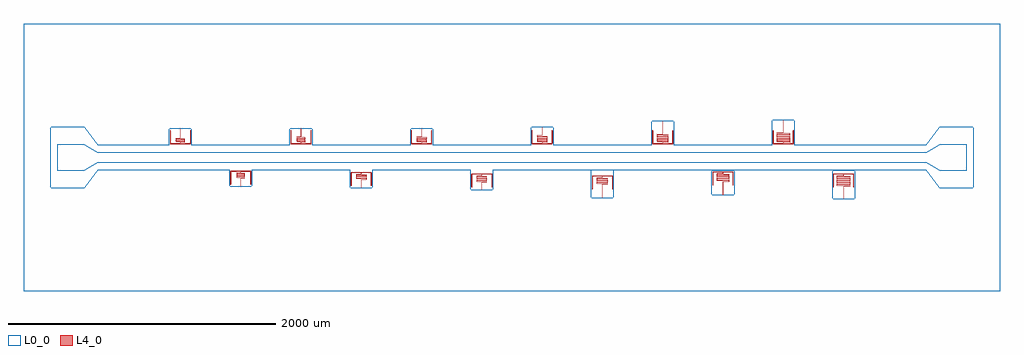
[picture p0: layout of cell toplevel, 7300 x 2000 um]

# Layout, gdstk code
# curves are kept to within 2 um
import gdstk
lib = gdstk.Library(unit=1e-6, precision=1e-09)
def P(c, l, *ps):  # polygons
    for p in ps: c.add(gdstk.Polygon(p, *l))
L0_0 = (0, 0)
L4_0 = (4, 0)

toplevel = lib.new_cell('toplevel')
P(toplevel, L0_0, [(3650,1000),(-3650,1000),(-3650,-225),(-3450,-225),(-3450,225),(-3200,225),(-3100,90),(-2562.5,90),(-2562.5,215),(-2397.5,215),(-2397.5,90),(-1660.682,90),(-1660.682,215),(-1495.682,215),(-1495.682,90),(-758.864,90),(-758.864,215),(-593.864,215),(-593.864,90),(142.954,90),(142.954,225),(307.954,225),(307.954,90),(1044.773,90),(1044.773,270),(1209.773,270),(1209.773,90),(1946.591,90),(1946.591,280),(2111.591,280),(2111.591,90),(3100,90),(3200,225),(3450,225),(3450,-225),(3200,-225),(3100,-90),(-142.954,-90),(-142.954,-240),(-307.954,-240),(-307.954,-90),(-1044.773,-90),(-1044.773,-225),(-1209.773,-225),(-1209.773,-90),(-1946.591,-90),(-1946.591,-215),(-2111.591,-215),(-2111.591,-90),(-3100,-90),(-3200,-225),(-3650,-225),(-3650,-300),(593.864,-300),(593.864,-95),(758.864,-95),(758.864,-280),(1495.682,-280),(1495.682,-100),(1660.682,-100),(1660.682,-280),(758.864,-280),(758.864,-300),(-3650,-300),(-3650,-310),(2397.5,-310),(2397.5,-100),(2562.5,-100),(2562.5,-310),(-3650,-310),(-3650,-1000),(3650,-1000)],
  [(-3100,40),(-3200,100),(-3400,100),(-3400,-100),(-3200,-100),(-3100,-40),(3100,-40),(3200,-100),(3400,-100),(3400,100),(3200,100),(3100,40)])
P(toplevel, L4_0, [(-2550.458,100),(-2553.313,100.306),(-2555.498,101.451),(-2556.915,103.4),(-2557.475,105.954),(-2557.5,200),(-2557.218,201.154),(-2556.434,202.048),(-2555.218,202.49),(-2553.943,202.266),(-2552.952,201.434),(-2552.502,200.109),(-2552.496,106.572),(-2552.243,105.246),(-2550.62,105),(-2490,105),(-2480.3,109.9),(-2480.277,114.226),(-2479.526,115.134),(-2447.419,115.381),(-2447.308,119.063),(-2447.618,119.551),(-2512.042,119.601),(-2513.241,120.4),(-2513.241,124.4),(-2512.178,125.193),(-2448.05,125.2),(-2447.352,125.512),(-2447.313,129.114),(-2447.859,129.594),(-2511.992,129.6),(-2513.208,130.294),(-2513.262,134.316),(-2512.912,134.934),(-2512.202,135.191),(-2448.05,135.2),(-2447.359,135.492),(-2447.312,139.11),(-2447.859,139.594),(-2511.986,139.6),(-2513.19,140.248),(-2513.271,144.264),(-2512.345,145.174),(-2481.025,145.2),(-2480.368,145.47),(-2480.3,214.9),(-2479.7,214.9),(-2479.819,145.228),(-2480.969,144.601),(-2512.239,144.584),(-2512.691,144.08),(-2512.637,140.482),(-2511.95,140.2),(-2447.798,140.191),(-2447.088,139.934),(-2446.737,139.309),(-2446.8,135.274),(-2448.008,134.6),(-2512.141,134.594),(-2512.687,134.114),(-2512.645,130.502),(-2511.95,130.2),(-2447.798,130.191),(-2447.088,129.934),(-2446.738,129.316),(-2446.785,125.314),(-2447.218,124.775),(-2448.008,124.6),(-2512.132,124.595),(-2512.682,124.151),(-2512.568,120.366),(-2447.427,120.119),(-2446.73,119.27),(-2446.7,115.958),(-2446.875,115.118),(-2447.447,114.674),(-2479.563,114.44),(-2479.7,109.9),(-2470,105),(-2480,105),(-2407.782,105.228),(-2407.5,106.88),(-2407.498,200.109),(-2406.915,201.607),(-2405.647,202.415),(-2404.145,202.349),(-2402.952,201.434),(-2402.5,200),(-2402.503,106.563),(-2403.1,103.365),(-2404.934,101.118),(-2406.855,100.261),(-2409.332,100)],
  [(-2029.391,-214.9),(-2029.257,-155.196),(-2028.128,-154.601),(-1998.844,-154.582),(-1998.4,-154.076),(-1998.459,-150.47),(-1999.141,-150.2),(-2059.305,-150.19),(-2060.009,-149.929),(-2060.355,-149.303),(-2060.281,-145.248),(-2059.083,-144.6),(-1998.941,-144.593),(-1998.403,-144.11),(-1998.451,-140.489),(-1999.141,-140.2),(-2059.274,-140.192),(-2059.967,-139.962),(-2060.334,-139.394),(-2060.334,-135.406),(-2059.71,-134.697),(-2059.145,-134.602),(-1999.166,-134.6),(-1998.559,-134.47),(-1998.394,-133.986),(-1998.399,-130.728),(-1998.946,-130.206),(-2059.038,-130.2),(-2059.991,-129.944),(-2060.38,-129.12),(-2060.372,-125.605),(-2060.044,-124.902),(-2059.311,-124.61),(-1999.166,-124.6),(-1998.594,-124.496),(-1998.395,-124.004),(-1998.543,-120.344),(-2059.789,-120.069),(-2060.369,-119.22),(-2060.39,-115.852),(-2060.204,-115.099),(-2059.663,-114.68),(-2029.524,-114.436),(-2029.391,-109.9),(-2039.091,-105),(-2099.711,-105),(-2101.334,-105.246),(-2101.591,-106.921),(-2101.593,-200.109),(-2102.484,-201.915),(-2103.444,-202.415),(-2104.525,-202.462),(-2106.006,-201.607),(-2106.591,-200),(-2106.59,-106.736),(-2106.338,-104.388),(-2105.519,-102.502),(-2103.225,-100.6),(-2099.855,-100.001),(-1958.447,-100),(-1956.078,-100.229),(-1954.161,-101.027),(-1953.014,-102.034),(-1952.191,-103.365),(-1951.591,-106.832),(-1951.593,-200.109),(-1952.248,-201.689),(-1953.765,-202.479),(-1955.698,-201.915),(-1956.588,-200.109),(-1956.591,-106.88),(-1956.854,-105.241),(-1958.471,-105),(-2019.091,-105),(-2028.791,-109.9),(-2028.813,-114.22),(-2029.544,-115.128),(-2059.668,-115.377),(-2059.785,-119.032),(-2059.542,-119.522),(-1998.871,-119.61),(-1998.126,-119.913),(-1997.806,-120.637),(-1997.805,-124.157),(-1998.277,-125.006),(-1999.149,-125.2),(-2059.232,-125.206),(-2059.782,-125.728),(-2059.788,-128.986),(-2059.618,-129.474),(-2059.021,-129.6),(-1998.871,-129.61),(-1998.137,-129.902),(-1997.81,-130.599),(-1997.8,-134.108),(-1998.172,-134.929),(-1999.143,-135.2),(-2059.663,-135.37),(-2059.773,-139.151),(-2059.227,-139.594),(-1999.099,-139.6),(-1998.328,-139.764),(-1997.893,-140.268),(-1997.828,-144.309),(-1998.172,-144.929),(-1998.877,-145.19),(-2059.041,-145.2),(-2059.727,-145.479),(-2059.779,-149.106),(-2059.24,-149.593),(-1999.105,-149.6),(-1997.912,-150.222),(-1997.819,-154.258),(-1998.727,-155.171),(-2028.071,-155.2),(-2028.716,-155.455),(-2028.791,-214.9)],
  [(-1648.64,100),(-1651.494,100.306),(-1653.647,101.423),(-1655.066,103.331),(-1655.655,105.925),(-1655.682,200),(-1655.399,201.154),(-1654.616,202.048),(-1653.4,202.49),(-1652.125,202.266),(-1651.073,201.343),(-1650.684,200.109),(-1650.678,106.572),(-1650.425,105.246),(-1648.802,105),(-1588.182,105),(-1578.482,109.9),(-1578.46,114.22),(-1577.741,115.124),(-1548.603,115.379),(-1548.725,119.519),(-1607.408,119.611),(-1608.147,119.913),(-1608.467,120.637),(-1608.321,124.656),(-1607.124,125.2),(-1549.037,125.206),(-1548.49,125.728),(-1548.485,128.986),(-1548.65,129.47),(-1549.252,129.6),(-1607.408,129.611),(-1608.135,129.902),(-1608.462,130.599),(-1608.473,134.102),(-1608.112,134.919),(-1607.135,135.2),(-1548.61,135.37),(-1548.5,139.151),(-1549.041,139.594),(-1607.179,139.6),(-1607.951,139.768),(-1608.385,140.281),(-1608.445,144.309),(-1608.1,144.929),(-1607.396,145.19),(-1549.232,145.2),(-1548.543,145.486),(-1548.494,149.106),(-1549.028,149.593),(-1607.174,149.6),(-1608.366,150.235),(-1608.454,154.258),(-1607.552,155.17),(-1579.202,155.2),(-1578.554,155.461),(-1578.482,214.9),(-1577.882,214.9),(-1578.009,155.209),(-1579.145,154.601),(-1607.433,154.582),(-1607.873,154.076),(-1607.815,150.473),(-1607.132,150.2),(-1548.962,150.19),(-1548.263,149.929),(-1547.918,149.303),(-1547.987,145.261),(-1548.425,144.76),(-1549.19,144.6),(-1607.336,144.593),(-1607.869,144.11),(-1607.824,140.495),(-1607.132,140.2),(-1548.992,140.192),(-1548.299,139.958),(-1547.939,139.394),(-1547.939,135.406),(-1548.563,134.697),(-1549.122,134.602),(-1607.112,134.6),(-1607.718,134.466),(-1607.879,133.981),(-1607.873,130.728),(-1607.331,130.207),(-1549.229,130.2),(-1548.269,129.934),(-1547.892,129.114),(-1547.9,125.605),(-1548.223,124.907),(-1548.956,124.611),(-1607.106,124.6),(-1607.684,124.492),(-1607.878,124.004),(-1607.732,120.346),(-1548.471,120.063),(-1547.903,119.213),(-1547.883,115.852),(-1548.068,115.099),(-1548.596,114.685),(-1577.75,114.434),(-1577.882,109.9),(-1568.182,105),(-1578.182,105),(-1505.964,105.228),(-1505.682,106.84),(-1505.679,200.109),(-1505.097,201.607),(-1503.829,202.415),(-1502.327,202.349),(-1501.134,201.434),(-1500.682,200),(-1500.688,106.41),(-1501.329,103.261),(-1503.116,101.118),(-1505.036,100.261),(-1507.514,100)],
  [(-1127.573,-224.9),(-1127.39,-165.105),(-1126.276,-164.6),(-1089.063,-164.587),(-1088.582,-164.08),(-1088.661,-160.429),(-1089.338,-160.2),(-1165.45,-160.193),(-1166.185,-159.934),(-1166.538,-159.296),(-1166.423,-155.163),(-1165.242,-154.6),(-1089.15,-154.595),(-1088.585,-154.11),(-1088.649,-150.452),(-1089.333,-150.2),(-1165.444,-150.193),(-1166.179,-149.939),(-1166.535,-149.309),(-1166.445,-145.209),(-1166.003,-144.747),(-1165.248,-144.6),(-1089.15,-144.595),(-1088.586,-144.114),(-1088.639,-140.473),(-1089.333,-140.2),(-1165.444,-140.193),(-1166.173,-139.944),(-1166.534,-139.316),(-1166.462,-135.248),(-1166.022,-134.757),(-1165.253,-134.6),(-1089.164,-134.596),(-1088.592,-134.159),(-1088.704,-130.366),(-1165.786,-130.138),(-1166.539,-129.29),(-1166.573,-125.958),(-1166.386,-125.099),(-1165.766,-124.657),(-1127.715,-124.446),(-1127.573,-119.9),(-1137.273,-115),(-1197.893,-115),(-1199.508,-115.24),(-1199.773,-116.983),(-1199.775,-210.109),(-1200.055,-211.154),(-1200.666,-211.915),(-1201.626,-212.415),(-1202.599,-212.479),(-1204.188,-211.607),(-1204.773,-210),(-1204.771,-116.663),(-1204.52,-114.388),(-1203.723,-112.536),(-1202.738,-111.423),(-1201.477,-110.631),(-1198.036,-110.001),(-1056.629,-110),(-1054.26,-110.229),(-1052.343,-111.027),(-1051.196,-112.034),(-1050.373,-113.366),(-1049.773,-116.832),(-1049.775,-210.109),(-1050.429,-211.689),(-1051.946,-212.479),(-1052.92,-212.415),(-1053.88,-211.915),(-1054.49,-211.154),(-1054.77,-210.109),(-1054.773,-116.84),(-1055.036,-115.241),(-1056.653,-115),(-1117.273,-115),(-1126.973,-119.9),(-1126.998,-124.245),(-1127.799,-125.148),(-1165.85,-125.377),(-1165.964,-129.076),(-1165.623,-129.56),(-1089.242,-129.601),(-1088.667,-129.692),(-1088.031,-130.4),(-1088.033,-134.407),(-1088.409,-134.972),(-1089.125,-135.195),(-1165.213,-135.2),(-1165.909,-135.479),(-1165.96,-139.114),(-1165.395,-139.595),(-1089.298,-139.6),(-1088.536,-139.75),(-1088.089,-140.235),(-1088.011,-144.316),(-1088.372,-144.944),(-1089.101,-145.193),(-1165.213,-145.2),(-1165.901,-145.461),(-1165.96,-149.11),(-1165.395,-149.595),(-1089.298,-149.6),(-1088.11,-150.189),(-1088.009,-154.303),(-1088.366,-154.939),(-1089.101,-155.193),(-1165.208,-155.2),(-1165.89,-155.44),(-1165.96,-159.11),(-1165.395,-159.595),(-1089.303,-159.6),(-1088.137,-160.137),(-1088,-164.258),(-1088.313,-164.892),(-1088.966,-165.18),(-1126.233,-165.2),(-1126.878,-165.418),(-1126.973,-224.9)],
  [(-746.822,100),(-749.676,100.306),(-751.862,101.451),(-753.263,103.365),(-753.84,105.981),(-753.864,200),(-753.581,201.154),(-752.797,202.048),(-751.581,202.49),(-750.307,202.266),(-749.255,201.343),(-748.866,200.109),(-748.86,106.591),(-748.607,105.246),(-746.984,105),(-686.364,105),(-676.664,109.9),(-676.639,114.239),(-675.851,115.145),(-639.285,115.379),(-639.172,119.071),(-639.506,119.558),(-712.895,119.601),(-713.469,119.692),(-714.105,120.4),(-714.103,124.407),(-713.728,124.971),(-713.017,125.194),(-639.918,125.2),(-639.225,125.486),(-639.177,129.114),(-639.736,129.595),(-712.844,129.6),(-713.614,129.757),(-714.053,130.248),(-714.125,134.316),(-713.77,134.939),(-713.041,135.193),(-639.923,135.2),(-639.232,135.47),(-639.176,139.11),(-639.736,139.595),(-712.839,139.6),(-713.588,139.743),(-714.033,140.202),(-714.128,144.303),(-713.77,144.939),(-713.041,145.193),(-639.923,145.2),(-639.243,145.446),(-639.176,149.11),(-639.736,149.595),(-712.833,149.6),(-714.007,150.15),(-714.137,154.251),(-713.828,154.887),(-713.183,155.178),(-677.398,155.2),(-676.755,155.424),(-676.664,214.9),(-676.064,214.9),(-676.235,155.124),(-677.355,154.601),(-713.078,154.587),(-713.554,154.08),(-713.478,150.435),(-712.804,150.2),(-639.68,150.192),(-638.951,149.934),(-638.598,149.296),(-638.707,145.176),(-639.888,144.6),(-712.991,144.595),(-713.551,144.11),(-713.49,140.458),(-712.804,140.2),(-639.686,140.193),(-638.957,139.939),(-638.601,139.309),(-638.682,135.228),(-639.127,134.75),(-639.883,134.6),(-712.991,134.595),(-713.55,134.114),(-713.5,130.479),(-712.809,130.2),(-639.686,130.193),(-638.957,129.939),(-638.602,129.316),(-638.668,125.261),(-639.107,124.76),(-639.883,124.6),(-712.977,124.596),(-713.545,124.155),(-713.432,120.366),(-639.337,120.134),(-638.596,119.283),(-638.564,115.958),(-638.75,115.099),(-639.357,114.66),(-675.586,114.586),(-676.054,114.084),(-676.064,109.9),(-666.364,105),(-676.364,105),(-605.744,105),(-604.138,105.233),(-603.864,106.82),(-603.861,200.109),(-603.279,201.607),(-602.011,202.415),(-600.508,202.349),(-599.316,201.434),(-598.864,200),(-598.868,106.488),(-599.495,103.296),(-601.298,101.118),(-603.218,100.261),(-605.696,100)],
  [(-225.754,-239.9),(-225.564,-185.092),(-224.463,-184.601),(-188.74,-184.587),(-188.263,-184.076),(-188.346,-180.424),(-189.02,-180.2),(-262.138,-180.192),(-262.867,-179.934),(-263.22,-179.296),(-263.098,-175.15),(-261.924,-174.6),(-188.827,-174.595),(-188.267,-174.11),(-188.334,-170.446),(-189.014,-170.2),(-262.132,-170.193),(-262.861,-169.939),(-263.219,-169.303),(-263.124,-165.202),(-262.678,-164.743),(-261.93,-164.6),(-188.827,-164.595),(-188.267,-164.11),(-188.322,-160.47),(-189.014,-160.2),(-262.132,-160.193),(-262.861,-159.939),(-263.216,-159.316),(-263.144,-155.248),(-262.704,-154.757),(-261.935,-154.6),(-188.827,-154.595),(-188.268,-154.114),(-188.316,-150.486),(-189.009,-150.2),(-262.108,-150.194),(-262.818,-149.972),(-263.194,-149.407),(-263.196,-145.4),(-262.56,-144.692),(-261.991,-144.601),(-188.528,-144.533),(-188.26,-144.041),(-188.406,-140.344),(-261.875,-140.2),(-262.586,-140.098),(-263.229,-139.245),(-263.253,-135.852),(-263.048,-135.067),(-262.461,-134.66),(-225.895,-134.444),(-225.754,-129.9),(-235.454,-125),(-296.074,-125),(-297.691,-125.241),(-297.954,-126.8),(-297.957,-220.109),(-298.237,-221.154),(-298.848,-221.915),(-299.807,-222.415),(-300.781,-222.479),(-302.37,-221.607),(-302.954,-220),(-302.954,-126.785),(-302.718,-124.454),(-301.971,-122.639),(-300.985,-121.479),(-299.693,-120.647),(-296.316,-120.002),(-154.811,-120),(-152.474,-120.221),(-150.525,-121.027),(-149.378,-122.034),(-148.57,-123.331),(-147.955,-126.785),(-147.954,-220),(-148.539,-221.607),(-150.128,-222.479),(-151.102,-222.415),(-152.061,-221.915),(-152.672,-221.154),(-152.952,-220.109),(-152.954,-127.046),(-153.211,-125.246),(-154.835,-125),(-215.454,-125),(-225.154,-129.9),(-225.179,-134.239),(-225.436,-134.83),(-225.967,-135.145),(-262.526,-135.37),(-262.648,-139.045),(-262.372,-139.537),(-188.765,-139.608),(-187.984,-139.918),(-187.664,-140.686),(-187.676,-144.22),(-188.289,-145.084),(-189.034,-145.2),(-262.523,-145.366),(-262.636,-149.155),(-262.068,-149.596),(-188.974,-149.6),(-188.198,-149.76),(-187.759,-150.261),(-187.693,-154.316),(-188.048,-154.939),(-188.777,-155.193),(-261.9,-155.2),(-262.59,-155.479),(-262.641,-159.114),(-262.082,-159.595),(-188.974,-159.6),(-188.218,-159.75),(-187.773,-160.228),(-187.692,-164.309),(-188.048,-164.939),(-188.777,-165.193),(-261.895,-165.2),(-262.581,-165.458),(-262.642,-169.11),(-262.082,-169.595),(-188.979,-169.6),(-188.244,-169.737),(-187.798,-170.176),(-187.689,-174.296),(-188.042,-174.934),(-188.771,-175.192),(-261.895,-175.2),(-262.569,-175.435),(-262.642,-179.106),(-262.082,-179.595),(-188.985,-179.6),(-187.826,-180.124),(-187.68,-184.245),(-187.984,-184.882),(-188.635,-185.178),(-224.415,-185.2),(-225.055,-185.41),(-225.154,-239.9)],
  [(154.996,100),(152.142,100.306),(149.956,101.451),(148.555,103.365),(147.978,105.981),(147.954,200),(148.237,201.154),(149.021,202.048),(150.237,202.49),(151.511,202.266),(152.563,201.343),(152.952,200.109),(152.958,106.591),(153.211,105.246),(154.835,105),(215.455,105),(225.154,109.9),(225.179,114.239),(225.436,114.83),(225.967,115.145),(262.526,115.37),(262.648,119.045),(262.372,119.537),(188.765,119.608),(187.984,119.918),(187.664,120.686),(187.676,124.22),(188.289,125.084),(189.034,125.2),(262.523,125.366),(262.636,129.155),(262.068,129.596),(188.974,129.6),(188.192,129.764),(187.752,130.281),(187.694,134.322),(188.054,134.944),(188.777,135.193),(261.9,135.2),(262.594,135.489),(262.641,139.114),(262.082,139.595),(188.974,139.6),(188.205,139.757),(187.765,140.248),(187.693,144.316),(188.048,144.939),(188.777,145.193),(261.895,145.2),(262.586,145.47),(262.642,149.11),(262.082,149.595),(188.979,149.6),(188.231,149.743),(187.785,150.202),(187.69,154.303),(188.048,154.939),(188.777,155.193),(261.895,155.2),(262.575,155.446),(262.642,159.11),(262.082,159.595),(188.985,159.6),(188.257,159.731),(187.811,160.15),(187.681,164.251),(187.99,164.887),(188.635,165.178),(224.42,165.2),(225.063,165.424),(225.154,224.9),(225.754,224.9),(225.583,165.124),(224.463,164.601),(188.74,164.587),(188.264,164.08),(188.34,160.435),(189.014,160.2),(262.138,160.192),(262.867,159.934),(263.22,159.296),(263.111,155.176),(262.665,154.737),(261.93,154.6),(188.827,154.595),(188.267,154.11),(188.328,150.458),(189.014,150.2),(262.132,150.193),(262.861,149.939),(263.217,149.309),(263.136,145.228),(262.691,144.75),(261.935,144.6),(188.827,144.595),(188.268,144.114),(188.318,140.479),(189.009,140.2),(262.132,140.193),(262.861,139.939),(263.216,139.316),(263.152,135.268),(262.711,134.76),(261.935,134.6),(188.827,134.595),(188.268,134.114),(188.312,130.495),(189.009,130.2),(262.108,130.194),(262.818,129.972),(263.194,129.407),(263.196,125.4),(262.56,124.692),(261.991,124.601),(188.528,124.533),(188.26,124.041),(188.406,120.344),(262.586,120.098),(263.229,119.245),(263.253,115.852),(263.048,115.067),(262.461,114.66),(226.232,114.586),(225.764,114.084),(225.754,109.9),(235.454,105),(225.454,105),(296.074,105),(297.68,105.233),(297.954,106.8),(297.957,200.109),(298.539,201.607),(299.807,202.415),(301.31,202.349),(302.502,201.434),(302.954,200),(302.951,106.538),(302.339,103.331),(301.531,102.034),(300.52,101.118),(298.6,100.261),(296.122,100)],
  [(676.064,-299.9),(676.163,-200.274),(676.594,-199.768),(677.344,-199.601),(716.569,-199.588),(717.053,-199.093),(717.007,-195.498),(716.304,-195.2),(636.198,-195.194),(635.469,-194.948),(635.105,-194.328),(635.151,-190.307),(635.588,-189.771),(636.383,-189.6),(716.482,-189.595),(717.049,-189.122),(717.013,-185.515),(716.309,-185.2),(636.198,-185.194),(635.469,-184.948),(635.105,-184.328),(635.142,-180.334),(635.575,-179.779),(636.383,-179.6),(716.482,-179.595),(717.049,-179.122),(717.018,-175.529),(716.309,-175.2),(636.198,-175.194),(635.469,-174.948),(635.106,-174.335),(635.134,-170.36),(635.562,-169.786),(636.377,-169.6),(716.482,-169.595),(717.049,-169.127),(717.022,-165.543),(716.309,-165.2),(636.198,-165.194),(635.469,-164.948),(635.106,-164.335),(635.128,-160.38),(635.556,-159.79),(636.377,-159.6),(716.383,-159.599),(716.935,-159.43),(717.064,-158.778),(717.043,-155.637),(716.454,-155.203),(635.791,-155.119),(635.092,-154.264),(635.064,-150.88),(635.27,-150.067),(635.883,-149.653),(675.919,-149.448),(676.064,-144.9),(666.364,-140),(605.744,-140),(604.138,-140.233),(603.864,-141.82),(603.861,-235.109),(603.581,-236.154),(602.971,-236.915),(602.011,-237.415),(601.037,-237.479),(599.448,-236.607),(598.864,-235),(598.864,-141.785),(599.012,-139.876),(599.495,-138.296),(600.371,-136.937),(601.674,-135.88),(603.384,-135.221),(605.376,-135.004),(747.031,-135),(748.956,-135.143),(750.567,-135.631),(752.054,-136.624),(753.06,-137.949),(753.657,-139.585),(753.862,-141.663),(753.864,-235),(753.279,-236.607),(751.69,-237.479),(750.717,-237.415),(749.757,-236.915),(749.146,-236.154),(748.866,-235.109),(748.864,-141.983),(748.607,-140.246),(746.984,-140),(686.364,-140),(676.664,-144.9),(676.637,-149.251),(676.372,-149.842),(675.818,-150.153),(635.792,-150.37),(635.671,-154.063),(635.982,-154.551),(716.499,-154.604),(717.221,-154.824),(717.603,-155.393),(717.605,-159.4),(716.976,-160.105),(716.406,-160.199),(636.418,-160.2),(635.704,-160.546),(635.678,-164.127),(636.245,-164.595),(716.35,-164.6),(717.165,-164.786),(717.598,-165.373),(717.621,-169.335),(717.258,-169.948),(716.529,-170.194),(636.418,-170.2),(635.707,-170.536),(635.678,-174.122),(636.245,-174.595),(716.344,-174.6),(717.152,-174.779),(717.59,-175.347),(717.621,-179.335),(717.258,-179.948),(716.529,-180.194),(636.418,-180.2),(635.712,-180.522),(635.678,-184.122),(636.245,-184.595),(716.344,-184.6),(717.146,-184.775),(717.581,-185.321),(717.622,-189.328),(717.258,-189.948),(716.529,-190.194),(636.418,-190.2),(635.716,-190.508),(635.677,-194.118),(636.245,-194.595),(716.344,-194.6),(717.126,-194.764),(717.569,-195.288),(717.63,-199.29),(717.311,-199.903),(716.658,-200.181),(677.393,-200.2),(676.722,-200.492),(676.664,-299.9)],
  [(1056.814,100),(1053.96,100.306),(1051.807,101.423),(1050.373,103.365),(1049.793,106.037),(1049.775,200.109),(1050.429,201.689),(1051.946,202.478),(1052.92,202.415),(1053.88,201.915),(1054.49,201.154),(1054.77,200.109),(1054.773,106.84),(1055.036,105.241),(1056.653,105),(1117.273,105),(1126.973,109.9),(1126.999,114.251),(1127.269,114.848),(1127.825,115.154),(1169.344,115.37),(1169.465,119.063),(1169.147,119.553),(1085.643,119.604),(1084.921,119.82),(1084.535,120.386),(1084.531,124.4),(1085.167,125.108),(1085.736,125.199),(1168.718,125.2),(1169.432,125.546),(1169.458,129.127),(1169.3,129.474),(1168.886,129.596),(1085.792,129.6),(1084.971,129.786),(1084.539,130.373),(1084.517,134.341),(1084.884,134.953),(1085.613,135.194),(1168.718,135.2),(1169.429,135.536),(1169.458,139.127),(1169.3,139.474),(1168.886,139.596),(1085.792,139.6),(1084.984,139.779),(1084.547,140.347),(1084.515,144.335),(1084.878,144.948),(1085.613,145.194),(1168.718,145.2),(1169.424,145.522),(1169.458,149.122),(1169.302,149.472),(1168.886,149.596),(1085.792,149.6),(1084.991,149.775),(1084.556,150.321),(1084.514,154.328),(1084.878,154.948),(1085.613,155.194),(1168.713,155.2),(1169.42,155.508),(1169.458,159.122),(1169.302,159.472),(1168.886,159.596),(1085.798,159.6),(1085.003,159.768),(1084.565,160.294),(1084.514,164.328),(1084.878,164.948),(1085.613,165.194),(1168.713,165.2),(1169.414,165.492),(1169.459,169.118),(1169.302,169.472),(1168.886,169.596),(1085.798,169.6),(1085.023,169.757),(1084.58,170.255),(1084.505,174.283),(1084.825,174.903),(1085.484,175.182),(1126.238,175.2),(1126.907,175.476),(1126.973,269.9),(1127.573,269.9),(1127.46,175.242),(1127.029,174.76),(1126.287,174.601),(1085.571,174.588),(1085.083,174.093),(1085.134,170.486),(1085.833,170.2),(1168.932,170.194),(1169.667,169.948),(1170.033,169.322),(1169.973,165.274),(1169.529,164.76),(1168.748,164.6),(1085.659,164.596),(1085.243,164.472),(1085.087,164.122),(1085.128,160.502),(1085.833,160.2),(1168.932,160.194),(1169.667,159.948),(1170.032,159.328),(1169.985,155.308),(1169.548,154.771),(1168.753,154.6),(1085.659,154.596),(1085.243,154.472),(1085.087,154.122),(1085.123,150.515),(1085.833,150.2),(1168.932,150.194),(1169.667,149.948),(1170.03,149.335),(1169.994,145.334),(1169.561,144.779),(1168.753,144.6),(1085.659,144.596),(1085.243,144.472),(1085.087,144.122),(1085.119,140.529),(1085.828,140.2),(1168.932,140.194),(1169.667,139.948),(1170.03,139.335),(1170.003,135.36),(1169.568,134.783),(1168.753,134.6),(1085.659,134.596),(1085.245,134.474),(1085.087,134.127),(1085.114,130.543),(1085.828,130.2),(1168.932,130.194),(1169.661,129.953),(1170.029,129.341),(1170.008,125.38),(1169.58,124.79),(1168.753,124.6),(1085.753,124.599),(1085.201,124.43),(1085.073,123.778),(1085.093,120.637),(1085.687,120.203),(1169.332,120.124),(1169.807,119.812),(1170.043,119.27),(1170.072,115.88),(1169.862,115.061),(1169.24,114.65),(1128.071,114.588),(1127.583,114.093),(1127.573,109.9),(1137.273,105),(1127.273,105),(1197.893,105),(1199.491,105.228),(1199.773,106.983),(1199.775,200.109),(1200.055,201.154),(1200.666,201.915),(1201.626,202.415),(1202.599,202.478),(1203.523,202.165),(1204.188,201.607),(1204.773,200),(1204.772,106.76),(1204.635,104.939),(1204.217,103.469),(1203.322,102.002),(1201.962,100.88),(1200.253,100.221),(1198.311,100.005)],
  [(1577.882,-279.9),(1577.998,-180.235),(1578.432,-179.757),(1579.173,-179.601),(1622.375,-179.589),(1622.871,-179.093),(1622.819,-175.482),(1622.117,-175.2),(1534.028,-175.194),(1533.287,-174.948),(1532.922,-174.322),(1532.984,-170.268),(1533.425,-169.76),(1534.207,-169.6),(1622.291,-169.596),(1622.709,-169.474),(1622.868,-169.122),(1622.825,-165.498),(1622.122,-165.2),(1534.028,-165.194),(1533.287,-164.948),(1532.923,-164.328),(1532.972,-160.301),(1533.412,-159.768),(1534.207,-159.6),(1622.291,-159.596),(1622.709,-159.474),(1622.868,-159.122),(1622.83,-155.512),(1622.122,-155.2),(1534.034,-155.195),(1533.293,-154.953),(1532.924,-154.335),(1532.962,-150.327),(1533.4,-149.775),(1534.207,-149.6),(1622.291,-149.596),(1622.709,-149.474),(1622.867,-149.127),(1622.835,-145.525),(1622.122,-145.2),(1534.034,-145.195),(1533.293,-144.953),(1532.926,-144.341),(1532.954,-140.354),(1533.387,-139.783),(1534.201,-139.6),(1622.291,-139.596),(1622.709,-139.474),(1622.867,-139.127),(1622.839,-135.539),(1622.127,-135.2),(1534.034,-135.195),(1533.293,-134.953),(1532.926,-134.341),(1532.95,-130.367),(1533.38,-129.786),(1534.201,-129.6),(1622.196,-129.599),(1622.754,-129.43),(1622.882,-128.778),(1622.861,-125.633),(1622.693,-125.314),(1622.263,-125.203),(1533.642,-125.13),(1533.158,-124.824),(1532.913,-124.277),(1532.883,-120.88),(1533.097,-120.055),(1533.734,-119.646),(1577.375,-119.589),(1577.871,-119.093),(1577.882,-114.9),(1568.182,-110),(1507.562,-110),(1505.952,-110.236),(1505.682,-111.84),(1505.679,-205.109),(1505.448,-206.056),(1504.789,-206.915),(1503.829,-207.415),(1502.856,-207.479),(1501.932,-207.165),(1501.267,-206.607),(1500.682,-205),(1500.682,-111.832),(1500.814,-109.971),(1501.252,-108.435),(1502.189,-106.937),(1503.527,-105.861),(1505.169,-105.229),(1507.245,-105.003),(1648.826,-105),(1650.711,-105.132),(1652.247,-105.57),(1653.777,-106.536),(1654.821,-107.845),(1655.468,-109.553),(1655.68,-111.663),(1655.682,-205),(1655.097,-206.607),(1654.432,-207.165),(1653.508,-207.479),(1652.535,-207.415),(1651.575,-206.915),(1650.964,-206.154),(1650.684,-205.109),(1650.682,-111.921),(1650.417,-110.24),(1648.802,-110),(1588.182,-110),(1578.482,-114.9),(1578.454,-119.258),(1578.18,-119.853),(1577.61,-120.159),(1533.612,-120.368),(1533.49,-124.067),(1533.817,-124.556),(1622.306,-124.604),(1623.033,-124.82),(1623.419,-125.386),(1623.423,-129.4),(1622.787,-130.108),(1622.213,-130.199),(1534.237,-130.2),(1533.524,-130.539),(1533.496,-134.127),(1533.654,-134.474),(1534.073,-134.596),(1622.162,-134.6),(1622.983,-134.786),(1623.414,-135.367),(1623.438,-139.341),(1623.07,-139.953),(1622.329,-140.195),(1534.242,-140.2),(1533.527,-140.532),(1533.496,-144.127),(1533.654,-144.474),(1534.073,-144.596),(1622.157,-144.6),(1622.97,-144.779),(1623.406,-145.34),(1623.439,-149.335),(1623.07,-149.953),(1622.329,-150.195),(1534.242,-150.2),(1533.531,-150.518),(1533.496,-154.122),(1533.654,-154.474),(1534.073,-154.596),(1622.157,-154.6),(1622.957,-154.771),(1623.397,-155.314),(1623.441,-159.328),(1623.076,-159.948),(1622.335,-160.194),(1534.242,-160.2),(1533.536,-160.505),(1533.496,-164.122),(1533.654,-164.474),(1534.073,-164.596),(1622.157,-164.6),(1622.945,-164.764),(1623.387,-165.288),(1623.441,-169.328),(1623.076,-169.948),(1622.335,-170.194),(1534.242,-170.2),(1533.541,-170.492),(1533.496,-174.122),(1533.654,-174.474),(1534.077,-174.596),(1622.151,-174.6),(1622.932,-174.757),(1623.374,-175.255),(1623.448,-179.29),(1623.124,-179.908),(1622.457,-180.184),(1579.222,-180.2),(1578.548,-180.473),(1578.482,-279.9)],
  [(1958.632,100),(1955.778,100.306),(1953.56,101.479),(1952.709,102.434),(1952.132,103.504),(1951.606,106.146),(1951.593,200.109),(1951.781,200.957),(1952.248,201.689),(1952.936,202.217),(1953.765,202.478),(1954.738,202.415),(1955.698,201.915),(1956.357,201.056),(1956.588,200.109),(1956.591,106.88),(1956.854,105.241),(1958.471,105),(2019.091,105),(2028.791,109.9),(2028.82,114.264),(2029.104,114.865),(2029.688,115.164),(2078.262,115.208),(2078.657,115.364),(2078.783,119.067),(2078.459,119.555),(1979.943,119.605),(1979.126,119.913),(1978.799,120.71),(1978.819,124.258),(1979.057,124.812),(1979.531,125.124),(2078.066,125.2),(2078.656,125.362),(2078.771,129.163),(2078.602,129.486),(2078.177,129.597),(1980.121,129.6),(1979.309,129.775),(1978.867,130.34),(1978.835,134.341),(1979.208,134.958),(1979.955,135.195),(2078.031,135.2),(2078.741,135.518),(2078.776,139.127),(2078.616,139.475),(2078.186,139.597),(1980.121,139.6),(1979.315,139.771),(1978.876,140.314),(1978.834,144.335),(1979.208,144.958),(1979.955,145.195),(2078.026,145.2),(2078.738,145.508),(2078.776,149.127),(2078.616,149.475),(2078.186,149.597),(1980.121,149.6),(1979.328,149.764),(1978.883,150.294),(1978.834,154.335),(1979.208,154.958),(1979.955,155.195),(2078.026,155.2),(2078.733,155.495),(2078.776,159.127),(2078.616,159.475),(2078.186,159.597),(1980.121,159.6),(1979.341,159.757),(1978.896,160.261),(1978.832,164.328),(1979.202,164.953),(1979.955,165.195),(2078.026,165.2),(2078.727,165.479),(2078.777,169.122),(2078.616,169.475),(2078.186,169.597),(1980.127,169.6),(1979.36,169.747),(1978.91,170.228),(1978.831,174.322),(1979.202,174.953),(1979.955,175.195),(2078.026,175.2),(2078.72,175.464),(2078.777,179.118),(2078.618,179.474),(2078.186,179.597),(1980.127,179.6),(1979.374,179.74),(1978.925,180.196),(1978.823,184.283),(1979.155,184.914),(1979.84,185.186),(2028.046,185.2),(2028.712,185.446),(2028.791,279.9),(2029.391,279.9),(2029.391,185.979),(2029.247,185.176),(2028.808,184.74),(2028.088,184.6),(1979.915,184.591),(1979.543,184.455),(1979.402,184.093),(1979.466,180.455),(1980.161,180.2),(2078.226,180.195),(2078.979,179.953),(2079.351,179.322),(2079.266,175.215),(2078.815,174.743),(2078.055,174.6),(1979.995,174.597),(1979.566,174.475),(1979.405,174.122),(1979.457,170.473),(1980.156,170.2),(2078.226,170.195),(2078.979,169.953),(2079.35,169.328),(2079.281,165.248),(2078.834,164.753),(2078.055,164.6),(1979.995,164.597),(1979.566,164.475),(1979.405,164.122),(1979.452,160.486),(1980.156,160.2),(2078.226,160.195),(2078.979,159.953),(2079.35,159.328),(2079.291,155.274),(2078.847,154.76),(2078.06,154.6),(1979.995,154.597),(1979.566,154.475),(1979.406,154.127),(1979.446,150.502),(1980.156,150.2),(2078.226,150.195),(2078.973,149.958),(2079.348,149.335),(2079.303,145.308),(2078.86,144.768),(2078.06,144.6),(1979.995,144.597),(1979.566,144.475),(1979.406,144.127),(1979.441,140.515),(1980.156,140.2),(2078.226,140.195),(2078.973,139.958),(2079.347,139.341),(2079.31,135.327),(2078.873,134.775),(2078.06,134.6),(1979.995,134.597),(1979.568,134.477),(1979.406,134.131),(1979.438,130.525),(1980.151,130.2),(2078.209,130.196),(2078.942,129.98),(2079.329,129.413),(2079.332,125.4),(2078.69,124.69),(2078.105,124.601),(1979.716,124.553),(1979.399,124.063),(1979.547,120.341),(2078.617,120.134),(2079.11,119.83),(2079.36,119.277),(2079.39,115.863),(2079.162,115.036),(2078.506,114.638),(2029.911,114.591),(2029.543,114.455),(2029.402,114.097),(2029.391,109.9),(2039.091,105),(2099.711,105),(2101.309,105.228),(2101.591,106.921),(2101.593,200.109),(2101.873,201.154),(2102.484,201.915),(2103.444,202.415),(2104.417,202.478),(2105.341,202.165),(2106.006,201.607),(2106.44,200.855),(2106.591,200),(2106.591,106.926),(2106.474,105.065),(2106.091,103.607),(2105.168,102.034),(2103.918,100.962),(2102.236,100.261),(2100.129,100.005)],
  [(2479.7,-309.9),(2479.7,-215.979),(2479.843,-215.176),(2480.283,-214.74),(2481.003,-214.6),(2529.176,-214.591),(2529.548,-214.455),(2529.689,-214.093),(2529.625,-210.455),(2528.93,-210.2),(2430.864,-210.195),(2430.111,-209.953),(2429.74,-209.322),(2429.825,-205.215),(2430.276,-204.743),(2431.036,-204.6),(2529.095,-204.597),(2529.525,-204.475),(2529.686,-204.122),(2529.633,-200.473),(2528.935,-200.2),(2430.864,-200.195),(2430.111,-199.953),(2429.741,-199.328),(2429.81,-195.248),(2430.257,-194.753),(2431.036,-194.6),(2529.095,-194.597),(2529.525,-194.475),(2529.686,-194.122),(2529.638,-190.486),(2528.935,-190.2),(2430.864,-190.195),(2430.111,-189.953),(2429.741,-189.328),(2429.8,-185.274),(2430.244,-184.76),(2431.03,-184.6),(2529.095,-184.597),(2529.525,-184.475),(2529.685,-184.127),(2529.645,-180.502),(2528.935,-180.2),(2430.864,-180.195),(2430.118,-179.958),(2429.743,-179.335),(2429.787,-175.307),(2430.231,-174.768),(2431.03,-174.6),(2529.095,-174.597),(2529.525,-174.475),(2529.685,-174.127),(2529.649,-170.515),(2529.43,-170.268),(2528.935,-170.2),(2430.864,-170.195),(2430.118,-169.958),(2429.744,-169.341),(2429.78,-165.327),(2430.218,-164.775),(2431.03,-164.6),(2529.095,-164.597),(2529.523,-164.477),(2529.685,-164.131),(2529.653,-160.525),(2529.436,-160.271),(2528.94,-160.2),(2430.864,-160.195),(2430.118,-159.958),(2429.744,-159.341),(2429.772,-155.354),(2430.205,-154.783),(2431.025,-154.6),(2529.095,-154.597),(2529.523,-154.477),(2529.685,-154.131),(2529.656,-150.536),(2529.442,-150.273),(2528.94,-150.2),(2430.882,-150.196),(2430.148,-149.98),(2429.762,-149.413),(2429.759,-145.4),(2430.401,-144.69),(2430.986,-144.601),(2529.375,-144.553),(2529.692,-144.063),(2529.544,-140.341),(2529.091,-140.203),(2430.473,-140.134),(2429.981,-139.83),(2429.731,-139.277),(2429.701,-135.863),(2429.928,-135.036),(2430.584,-134.638),(2479.18,-134.591),(2479.548,-134.455),(2479.689,-134.097),(2479.7,-129.9),(2470,-125),(2409.38,-125),(2407.782,-125.228),(2407.5,-126.88),(2407.498,-220.109),(2407.218,-221.154),(2406.607,-221.915),(2405.647,-222.415),(2404.674,-222.479),(2403.75,-222.165),(2403.085,-221.607),(2402.651,-220.855),(2402.5,-220),(2402.5,-126.832),(2402.617,-125.065),(2403,-123.608),(2403.923,-122.034),(2405.207,-120.942),(2406.888,-120.253),(2408.962,-120.005),(2550.62,-120),(2552.435,-120.117),(2553.892,-120.5),(2555.433,-121.396),(2556.599,-122.776),(2557.271,-124.487),(2557.498,-126.638),(2557.498,-220.109),(2557.31,-220.957),(2556.843,-221.689),(2556.154,-222.217),(2555.326,-222.479),(2554.353,-222.415),(2553.393,-221.915),(2552.782,-221.154),(2552.502,-220.109),(2552.5,-126.9),(2552.225,-125.233),(2550.62,-125),(2490,-125),(2480.3,-129.9),(2480.271,-134.264),(2479.987,-134.865),(2479.403,-135.164),(2430.828,-135.208),(2430.434,-135.364),(2430.308,-139.067),(2430.632,-139.555),(2529.147,-139.605),(2529.965,-139.913),(2530.292,-140.71),(2530.272,-144.258),(2530.034,-144.812),(2529.559,-145.124),(2431.025,-145.2),(2430.435,-145.362),(2430.32,-149.163),(2430.488,-149.486),(2430.914,-149.597),(2528.975,-149.6),(2529.795,-149.783),(2530.23,-150.36),(2530.256,-154.341),(2529.882,-154.958),(2529.136,-155.195),(2431.06,-155.2),(2430.561,-155.272),(2430.345,-155.532),(2430.315,-159.131),(2430.477,-159.477),(2430.905,-159.597),(2528.97,-159.6),(2529.782,-159.775),(2530.224,-160.34),(2530.256,-164.341),(2529.882,-164.958),(2529.136,-165.195),(2431.06,-165.2),(2430.567,-165.269),(2430.349,-165.518),(2430.315,-169.127),(2430.475,-169.475),(2430.905,-169.597),(2528.97,-169.6),(2529.776,-169.771),(2530.215,-170.314),(2530.257,-174.335),(2529.882,-174.958),(2529.136,-175.195),(2431.065,-175.2),(2430.353,-175.508),(2430.315,-179.127),(2430.475,-179.475),(2430.905,-179.597),(2528.97,-179.6),(2529.763,-179.764),(2530.208,-180.294),(2530.257,-184.335),(2529.882,-184.958),(2529.136,-185.195),(2431.065,-185.2),(2430.358,-185.495),(2430.315,-189.127),(2430.475,-189.475),(2430.905,-189.597),(2528.97,-189.6),(2529.75,-189.757),(2530.195,-190.261),(2530.259,-194.328),(2529.888,-194.953),(2529.136,-195.195),(2431.065,-195.2),(2430.364,-195.479),(2430.314,-199.122),(2430.475,-199.475),(2430.905,-199.597),(2528.964,-199.6),(2529.73,-199.747),(2530.181,-200.228),(2530.26,-204.322),(2529.888,-204.953),(2529.136,-205.195),(2431.065,-205.2),(2430.371,-205.464),(2430.314,-209.118),(2430.472,-209.474),(2430.905,-209.597),(2528.964,-209.6),(2529.717,-209.74),(2530.166,-210.196),(2530.268,-214.283),(2529.936,-214.914),(2529.251,-215.186),(2481.045,-215.2),(2480.379,-215.446),(2480.3,-309.9)])

lib.write_gds('toplevel.gds')
